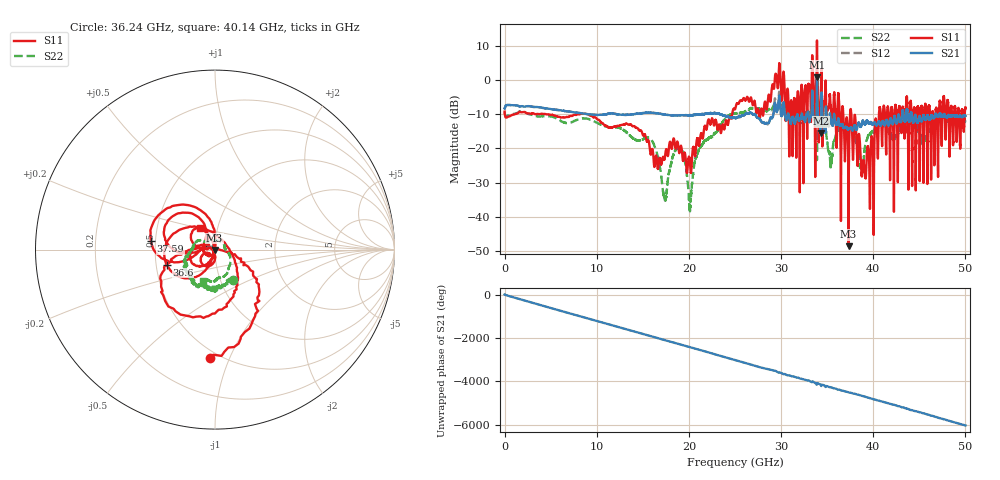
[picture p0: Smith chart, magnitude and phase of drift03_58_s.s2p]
!Created with skrf (http://scikit-rf.org).
# Hz S RI R 50.0
!freq ReS11 ImS11 ReS21 ImS21 ReS12 ImS12 ReS22 ImS22
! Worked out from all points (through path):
!   10001 points, 300 kHz to 50 GHz, reference 50 ohm
!   highest |S21| = 0.72 dB at 33.9 GHz (marker M1); lowest = -15.5 dB at 34.32 GHz (marker M2)
!   group delay of S21, straight-line fit = 335 ps
!   lowest |S11| = -48.5 dB at 37.33 GHz (marker M3), VSWR 1.01, Z = 49.7 - j0.262 ohm
!   |S11| at or under -10 dB: 4.467 GHz to 7.97 GHz (3.503 GHz wide, 56.3 % of centre); 9.013 GHz to 24.7 GHz (15.68 GHz wide, 93 % of centre); 37.62 GHz to 40.62 GHz (3.001 GHz wide, 7.67 % of centre) (the widest 3 of 59)
!   |S22| runs from -38.3 to -5.9 dB; largest |S21 - S12| = 0.11
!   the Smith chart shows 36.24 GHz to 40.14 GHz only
!   S11 on the Smith chart (normalised r, x): 36.24 GHz: 0.44, -0.85; 36.6 GHz: 0.57, -0.10; 37.59 GHz: 0.47, +0.05; 40.14 GHz: 0.82, +0.20
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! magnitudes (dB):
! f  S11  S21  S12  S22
! 300 kHz  -9.3  -8.4  -8.4  -9.3
! 8.335 GHz  -9.9  -9.8  -9.8  -11.3
! 16.67 GHz  -25.5  -9.8  -9.8  -23.2
! 17.39 GHz  -22.7  -10.1  -10.1  -34.9
! 19.08 GHz  -19.6  -10.3  -10.3  -20.1
! 20.13 GHz  -24.7  -10.3  -10.3  -36.8
! 21.19 GHz  -17.8  -10.1  -10.1  -19.7
! 25 GHz  -8.6  -11.1  -11.1  -9.8
! 29.66 GHz  -2.3  -8.3  -8.4  -7.1
! 31.08 GHz  -6.1  -12.7  -12.6  -10.5
! 33.34 GHz  0.5  -7.5  -7.5  -9.4
! 33.9 GHz  11.5  0.7  0.3  -23.4
! 34.32 GHz  -2.9  -15.5  -14.9  -11.2
! 35.35 GHz  -6.8  -10.6  -10.2  -24.9
! 36.24 GHz  -4.4  -11.7  -11.7  -14.2
! 36.6 GHz  -11.0  -13.0  -13.0  -13.3
! 37.33 GHz  -48.5  -14.3  -14.5  -13.5
! 37.59 GHz  -8.9  -13.9  -13.9  -14.0
! 38.71 GHz  -26.0  -13.4  -13.3  -25.5
! 40.14 GHz  -16.7  -12.4  -12.5  -14.5
! 41.67 GHz  -9.5  -13.3  -13.2  -15.1
! 50 GHz  -8.1  -10.6  -10.5  -12.1
